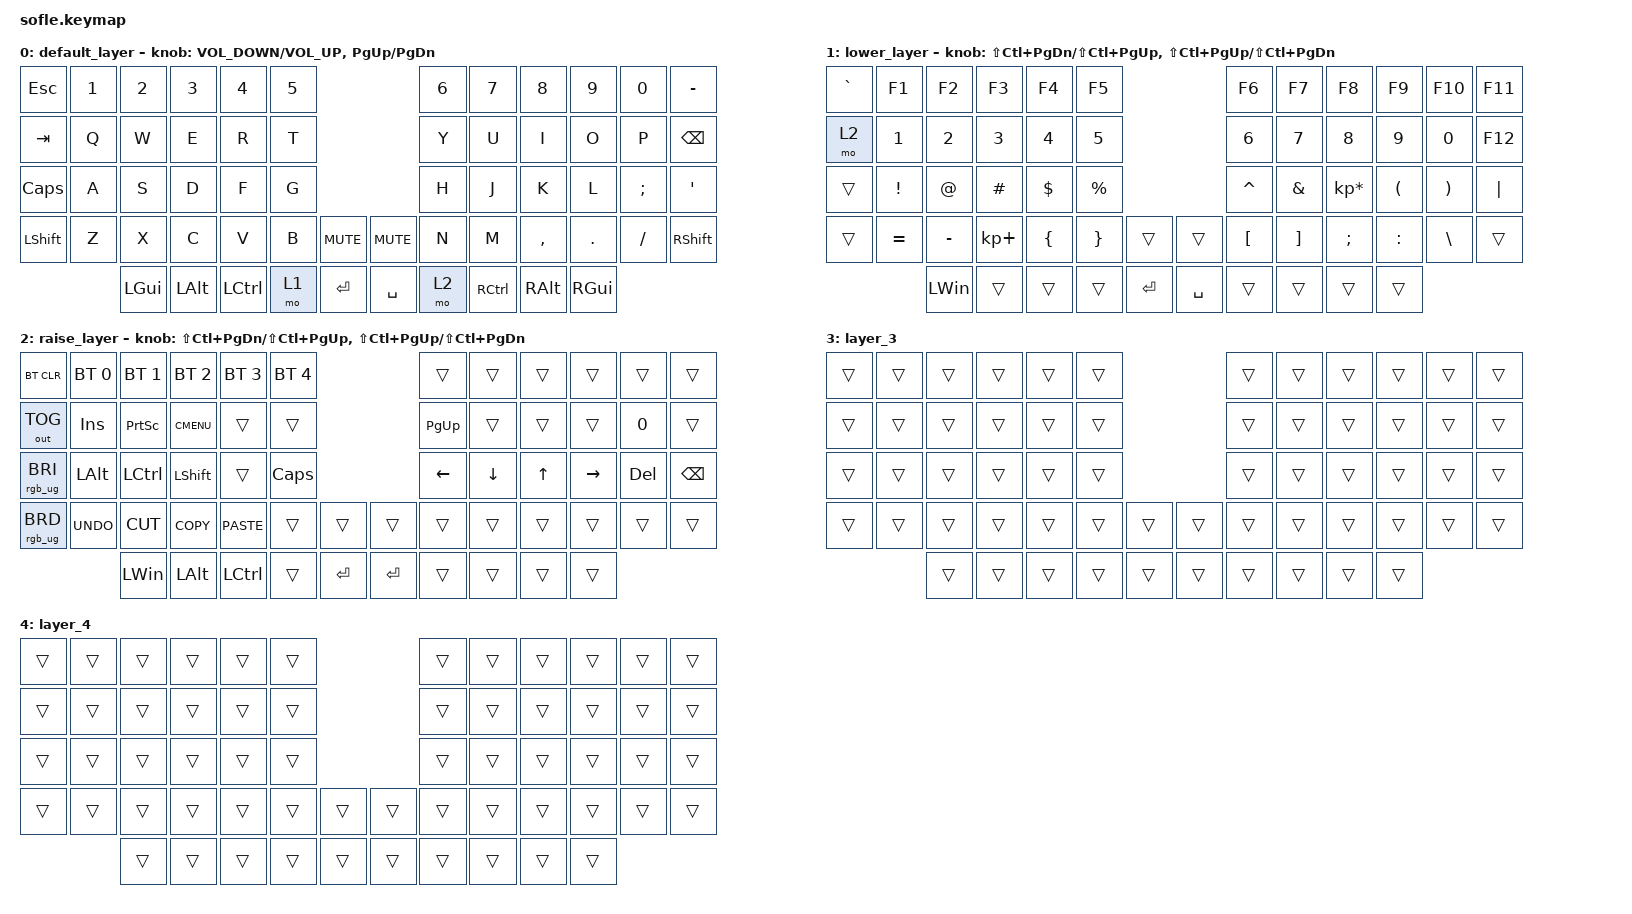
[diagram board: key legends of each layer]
/*
 * Copyright (c) 2020 The ZMK Contributors
 *
 * SPDX-License-Identifier: MIT
 */

#include <behaviors.dtsi>
#include <dt-bindings/zmk/bt.h>
#include <dt-bindings/zmk/keys.h>
#include <dt-bindings/zmk/outputs.h>
#include <dt-bindings/zmk/rgb.h>

/ {
    combos {
        compatible = "zmk,combos";

        softoff {
            bindings = <&soft_off>;
            key-positions = <42 43>;
        };
    };

    keymap {
        compatible = "zmk,keymap";

        default_layer {
            // ------------------------------------------------------------------------------------------------------------
            // |  `    |  1  |  2  |  3   |  4   |  5   |                   |  6   |  7    |  8    |  9   |   0   |       |
            // |  ESC  |  Q  |  W  |  E   |  R   |  T   |                   |  Y   |  U    |  I    |  O   |   P   | BKSPC |
            // |  TAB  |  A  |  S  |  D   |  F   |  G   |                   |  H   |  J    |  K    |  L   |   ;   |   '   |
            // | SHIFT |  Z  |  X  |  C   |  V   |  B   |  MUTE  |  |       |  N   |  M    |  ,    |  .   |   /   | SHIFT |
            //               | GUI | ALT  | CTRL | LOWER|  ENTER |  | SPACE | RAISE| CTRL  | ALT   | GUI  |

            bindings = <
&kp ESCAPE    &kp N1  &kp N2    &kp N3    &kp N4     &kp N5                            &kp N6  &kp N7     &kp N8     &kp N9    &kp N0    &kp MINUS
&kp TAB       &kp Q   &kp W     &kp E     &kp R      &kp T                             &kp Y   &kp U      &kp I      &kp O     &kp P     &kp BSPC
&kp CAPSLOCK  &kp A   &kp S     &kp D     &kp F      &kp G                             &kp H   &kp J      &kp K      &kp L     &kp SEMI  &kp SQT
&kp LSHFT     &kp Z   &kp X     &kp C     &kp V      &kp B   &kp C_MUTE    &kp C_MUTE  &kp N   &kp M      &kp COMMA  &kp DOT   &kp FSLH  &kp RSHFT
                      &kp LGUI  &kp LALT  &kp LCTRL  &mo 1   &kp ENTER     &kp SPACE   &mo 2   &kp RCTRL  &kp RALT   &kp RGUI
            >;

            sensor-bindings =
                <&inc_dec_kp C_VOLUME_DOWN C_VOLUME_UP>,
                <&inc_dec_kp PG_UP PG_DN>;
        };

        lower_layer {
            // TODO: Some binds are waiting for shifted keycode support.
            // ------------------------------------------------------------------------------------------------------------
            // | `     |  F1 |  F2 |  F3  |  F4  |  F5  |                   |  F6  |  F7   |  F8   |  F9  |  F10  |  F11  |
            // | RAISE |   1 |   2 |   3  |   4  |   5  |                   |   6  |   7   |   8   |   9  |    0  |  F12  |
            // |       |  !  |  @  |  #   |  $   |  %   |                   |  ^   |  &    |  *    |  (   |   )   |   |   |
            // |       |  =  |  -  |  +   |  {   |  }   |        |  |       |  [   |  ]    |  ;    |  :   |   \   |       |
            //               |     |      |      |      |        |  |       |      |       |       |      |

            bindings = <
&kp GRAVE  &kp F1     &kp F2        &kp F3       &kp F4    &kp F5                             &kp F6     &kp F7    &kp F8           &kp F9     &kp F10   &kp F11
&mo 2      &kp N1     &kp N2        &kp N3       &kp N4    &kp N5                             &kp N6     &kp N7    &kp N8           &kp N9     &kp N0    &kp F12
&trans     &kp EXCL   &kp AT        &kp HASH     &kp DLLR  &kp PRCNT                          &kp CARET  &kp AMPS  &kp KP_MULTIPLY  &kp LPAR   &kp RPAR  &kp PIPE
&trans     &kp EQUAL  &kp MINUS     &kp KP_PLUS  &kp LBRC  &kp RBRC   &trans       &trans     &kp LBKT   &kp RBKT  &kp SEMI         &kp COLON  &kp BSLH  &trans
                      &kp LEFT_WIN  &trans       &trans    &trans     &kp ENTER    &kp SPACE  &trans     &trans    &trans           &trans
            >;

            sensor-bindings =
                <&inc_dec_kp LS(LC(PAGE_DOWN)) LS(LC(PAGE_UP))>,
                <&inc_dec_kp LS(LC(PG_UP)) LS(LC(PG_DN))>;
        };

        raise_layer {
            // ------------------------------------------------------------------------------------------------------------
            // |BTCLR| BT1  | BT2  |  BT3  |  BT4  |  BT5 |                |      |      |       |      |       |       |
            // |     | INS  | PSCR | GUI   |       |      |                | PGUP |      |       |      |       |       |
            // |     | ALT  | CTRL | SHIFT |       | CAPS |                |  <-  |   v  |   ^   |  ->  |  DEL  | BKSPC |
            // |     | UNDO | CUT  | COPY  | PASTE |      |      |  |      |      |      |       |      |       |       |
            //              |      |       |       |      |      |  |      |      |      |       |      |

            bindings = <
&bt BT_CLR       &bt BT_SEL 0  &bt BT_SEL 1  &bt BT_SEL 2  &bt BT_SEL 3  &bt BT_SEL 4                          &trans     &trans    &trans  &trans     &trans   &trans
&out OUT_TOG     &kp INS       &kp PSCRN     &kp K_CMENU   &trans        &trans                                &kp PG_UP  &trans    &trans  &trans     &kp N0   &trans
&rgb_ug RGB_BRI  &kp LALT      &kp LCTRL     &kp LSHFT     &trans        &kp CLCK                              &kp LEFT   &kp DOWN  &kp UP  &kp RIGHT  &kp DEL  &kp BSPC
&rgb_ug RGB_BRD  &kp K_UNDO    &kp K_CUT     &kp K_COPY    &kp K_PASTE   &trans        &trans       &trans     &trans     &trans    &trans  &trans     &trans   &trans
                               &kp LEFT_WIN  &kp LALT      &kp LCTRL     &trans        &kp ENTER    &kp ENTER  &trans     &trans    &trans  &trans
            >;

            sensor-bindings =
                <&inc_dec_kp LS(LC(PAGE_DOWN)) LS(LC(PAGE_UP))>,
                <&inc_dec_kp LS(LC(PG_UP)) LS(LC(PG_DN))>;
        };

        layer_3 {
            bindings = <
&trans  &trans  &trans  &trans  &trans  &trans                    &trans  &trans  &trans  &trans  &trans  &trans
&trans  &trans  &trans  &trans  &trans  &trans                    &trans  &trans  &trans  &trans  &trans  &trans
&trans  &trans  &trans  &trans  &trans  &trans                    &trans  &trans  &trans  &trans  &trans  &trans
&trans  &trans  &trans  &trans  &trans  &trans  &trans    &trans  &trans  &trans  &trans  &trans  &trans  &trans
                &trans  &trans  &trans  &trans  &trans    &trans  &trans  &trans  &trans  &trans
            >;
        };

        layer_4 {
            bindings = <
&trans  &trans  &trans  &trans  &trans  &trans                    &trans  &trans  &trans  &trans  &trans  &trans
&trans  &trans  &trans  &trans  &trans  &trans                    &trans  &trans  &trans  &trans  &trans  &trans
&trans  &trans  &trans  &trans  &trans  &trans                    &trans  &trans  &trans  &trans  &trans  &trans
&trans  &trans  &trans  &trans  &trans  &trans  &trans    &trans  &trans  &trans  &trans  &trans  &trans  &trans
                &trans  &trans  &trans  &trans  &trans    &trans  &trans  &trans  &trans  &trans
            >;
        };
    };
};
